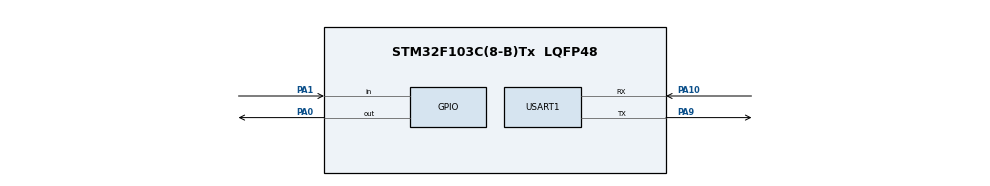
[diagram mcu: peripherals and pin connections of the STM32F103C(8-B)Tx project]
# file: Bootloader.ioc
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Mcu.Family=STM32F1
Mcu.Name=STM32F103C(8-B)Tx
Mcu.Package=LQFP48
NVIC.PriorityGroup=NVIC_PRIORITYGROUP_4
PA0-WKUP.Signal=GPIO_Output
PA1.Signal=GPIO_Input
PA10.Mode=Asynchronous
PA10.Signal=USART1_RX
PA13.Mode=Serial_Wire
PA13.Signal=SYS_JTMS-SWDIO
PA14.Mode=Serial_Wire
PA14.Signal=SYS_JTCK-SWCLK
PA9.Mode=Asynchronous
PA9.Signal=USART1_TX
ProjectManager.HeapSize=0x200
ProjectManager.StackSize=0x400
ProjectManager.TargetToolchain=MDK-ARM V5.32
RCC.APB1Freq_Value=8000000
RCC.APB2Freq_Value=8000000
USART1.VirtualMode=VM_ASYNC
board=custom

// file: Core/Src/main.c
/* USER CODE BEGIN Header */
/**
  ******************************************************************************
  * @file           : main.c
  * @brief          : Main program body
  ******************************************************************************
  * @attention
  *
  * Copyright (c) 2026 STMicroelectronics.
  * All rights reserved.
  *
  * This software is licensed under terms that can be found in the LICENSE file
  * in the root directory of this software component.
  * If no LICENSE file comes with this software, it is provided AS-IS.
  *
  ******************************************************************************
  */
/* USER CODE END Header */
#include "main.h"
#include "Flash.h"

UART_HandleTypeDef huart1;

void SystemClock_Config(void);
static void MX_GPIO_Init(void);
static void MX_USART1_UART_Init(void);

/* USER CODE BEGIN 0 */
#define ADDR_APP_PROGRAM 0x800C800
typedef void (*pFunction)(void);

void enter_to_application()
{
    HAL_RCC_DeInit();
    HAL_DeInit();

    SCB->SHCSR &= ~(SCB_SHCSR_USGFAULTENA_Msk |
                    SCB_SHCSR_BUSFAULTENA_Msk |
                    SCB_SHCSR_MEMFAULTENA_Msk);

    __set_MSP(*(__IO uint32_t *)ADDR_APP_PROGRAM);

    pFunction app_entry = (pFunction)(*(__IO uint32_t *)(ADDR_APP_PROGRAM + 4));
    app_entry();
}

#define START_BYTE 0xAA
#define ACK 0x79
#define NACK 0x1F
#define BLOCK_SIZE 256

#define START_PAGE 50
#define END_PAGE 127

void flash_erase_range_by_page()
{
    for (uint32_t page = START_PAGE; page <= END_PAGE; page++)
    {
        uint32_t addr = 0x08000000 + page * 1024;
        flash_erase(addr);
    }
}

uint16_t simpleCRC(uint8_t *data, uint16_t len)
{
    uint16_t crc = 0;
    for (uint16_t i = 0; i < len; i++)
    {
        crc += data[i];
    }
    return crc;
}

void send_byte(uint8_t byte)
{
    HAL_UART_Transmit(&huart1, &byte, 1, HAL_MAX_DELAY);
}

uint8_t receive_byte(uint8_t *byte, uint32_t timeout)
{
    return HAL_UART_Receive(&huart1, byte, 1, timeout);
}

uint8_t header[3];
uint8_t data[BLOCK_SIZE];
uint8_t crc_buf[2];
uint16_t crc_calc;
uint16_t crc_recv;
void bootloader_loop()
{
    uint32_t app_address = ADDR_APP_PROGRAM;
    uint16_t len;
    for (int b = 0; b < 3; b++)
    {
        header[b] = 0;
    }
    flash_unlock();
    flash_erase_range_by_page();

    while (1)
    {
        if (receive_byte(&header[0], 5000) != HAL_OK || header[0] != START_BYTE)
        {
            continue;
        }

        if (HAL_UART_Receive(&huart1, &header[1], 2, 1000) != HAL_OK)
        {
            send_byte(NACK);
            continue;
        }

        len = (header[1] << 8) | header[2];
        if (len > BLOCK_SIZE)
        {
            send_byte(NACK);
            continue;
        }

        if (len == 0)
        {
            send_byte(ACK);
            break;
        }

        if (HAL_UART_Receive(&huart1, data, len, 1000) != HAL_OK)
        {
            send_byte(NACK);
            continue;
        }

        if (HAL_UART_Receive(&huart1, crc_buf, 2, 500) != HAL_OK)
        {
            send_byte(NACK);
            continue;
        }

        crc_recv = (crc_buf[0] << 8) | crc_buf[1];
        crc_calc = simpleCRC(data, len);

        if (crc_recv != crc_calc)
        {
            send_byte(NACK);
            continue;
        }

        flash_write(app_address, data, len);
        app_address += len;

        send_byte(ACK);
    }

    flash_lock();
}
/* USER CODE END 0 */

int main(void)
{

  /* MCU Configuration--------------------------------------------------------*/

  /* Reset of all peripherals, Initializes the Flash interface and the Systick. */
  HAL_Init();

  /* Configure the system clock */
  SystemClock_Config();

  /* Initialize all configured peripherals */
  MX_GPIO_Init();
  MX_USART1_UART_Init();
  /* USER CODE BEGIN 2 */
	bootloader_loop();

	HAL_GPIO_WritePin(GPIOA, GPIO_PIN_0, 1);
	HAL_Delay(2000);
	enter_to_application();
  /* USER CODE END 2 */

  /* Infinite loop */
  while (1)
  {

	}
}

void SystemClock_Config(void)
{
  RCC_OscInitTypeDef RCC_OscInitStruct = {0};
  RCC_ClkInitTypeDef RCC_ClkInitStruct = {0};

  /** Initializes the RCC Oscillators according to the specified parameters
  * in the RCC_OscInitTypeDef structure.
  */
  RCC_OscInitStruct.OscillatorType = RCC_OSCILLATORTYPE_HSI;
  RCC_OscInitStruct.HSIState = RCC_HSI_ON;
  RCC_OscInitStruct.HSICalibrationValue = RCC_HSICALIBRATION_DEFAULT;
  RCC_OscInitStruct.PLL.PLLState = RCC_PLL_NONE;
  if (HAL_RCC_OscConfig(&RCC_OscInitStruct) != HAL_OK)
  {
    Error_Handler();
  }

  /** Initializes the CPU, AHB and APB buses clocks
  */
  RCC_ClkInitStruct.ClockType = RCC_CLOCKTYPE_HCLK|RCC_CLOCKTYPE_SYSCLK
                              |RCC_CLOCKTYPE_PCLK1|RCC_CLOCKTYPE_PCLK2;
  RCC_ClkInitStruct.SYSCLKSource = RCC_SYSCLKSOURCE_HSI;
  RCC_ClkInitStruct.AHBCLKDivider = RCC_SYSCLK_DIV1;
  RCC_ClkInitStruct.APB1CLKDivider = RCC_HCLK_DIV1;
  RCC_ClkInitStruct.APB2CLKDivider = RCC_HCLK_DIV1;

  if (HAL_RCC_ClockConfig(&RCC_ClkInitStruct, FLASH_LATENCY_0) != HAL_OK)
  {
    Error_Handler();
  }
}

static void MX_USART1_UART_Init(void)
{

  huart1.Instance = USART1;
  huart1.Init.BaudRate = 115200;
  huart1.Init.WordLength = UART_WORDLENGTH_8B;
  huart1.Init.StopBits = UART_STOPBITS_1;
  huart1.Init.Parity = UART_PARITY_NONE;
  huart1.Init.Mode = UART_MODE_TX_RX;
  huart1.Init.HwFlowCtl = UART_HWCONTROL_NONE;
  huart1.Init.OverSampling = UART_OVERSAMPLING_16;
  if (HAL_UART_Init(&huart1) != HAL_OK)
  {
    Error_Handler();
  }

}

static void MX_GPIO_Init(void)
{
  GPIO_InitTypeDef GPIO_InitStruct = {0};

  /* GPIO Ports Clock Enable */
  __HAL_RCC_GPIOA_CLK_ENABLE();

  /*Configure GPIO pin Output Level */
  HAL_GPIO_WritePin(GPIOA, GPIO_PIN_0, GPIO_PIN_RESET);

  /*Configure GPIO pin : PA0 */
  GPIO_InitStruct.Pin = GPIO_PIN_0;
  GPIO_InitStruct.Mode = GPIO_MODE_OUTPUT_PP;
  GPIO_InitStruct.Pull = GPIO_NOPULL;
  GPIO_InitStruct.Speed = GPIO_SPEED_FREQ_LOW;
  HAL_GPIO_Init(GPIOA, &GPIO_InitStruct);

  /*Configure GPIO pin : PA1 */
  GPIO_InitStruct.Pin = GPIO_PIN_1;
  GPIO_InitStruct.Mode = GPIO_MODE_INPUT;
  GPIO_InitStruct.Pull = GPIO_NOPULL;
  HAL_GPIO_Init(GPIOA, &GPIO_InitStruct);

}

void Error_Handler(void)
{
  __disable_irq();
  while (1)
  {
  }
}
